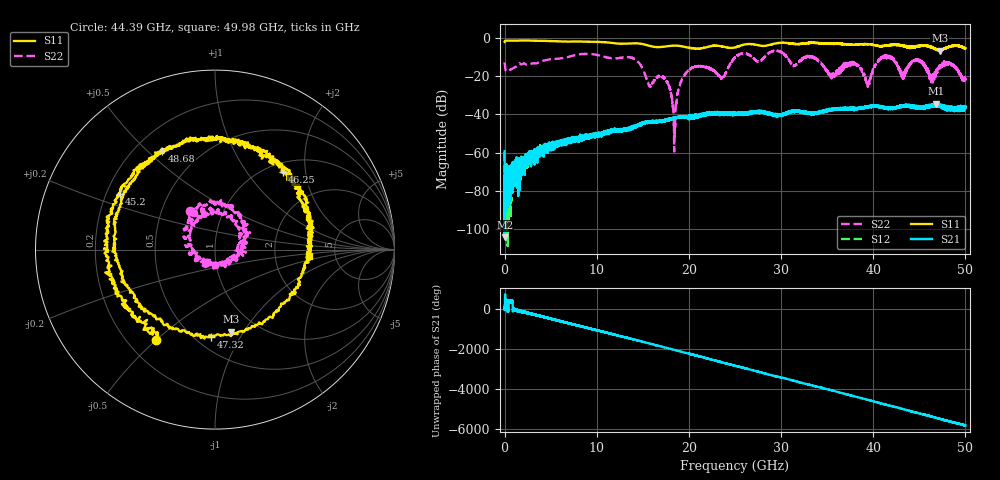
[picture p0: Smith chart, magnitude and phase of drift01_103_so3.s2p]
!Created with skrf (http://scikit-rf.org).
# Hz S RI R 50.0
!freq ReS11 ImS11 ReS21 ImS21 ReS12 ImS12 ReS22 ImS22
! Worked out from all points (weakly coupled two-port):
!   10001 points, 300 kHz to 50 GHz, reference 50 ohm
!   highest |S21| = -34.37 dB at 46.85 GHz (marker M1); lowest = -104.2 dB at 10.3 MHz (marker M2)
!   lowest |S11| = -6.6 dB at 47.21 GHz (marker M3), VSWR 2.74, Z = 37.7 - j44 ohm
!   |S11| at or under -10 dB: nowhere
!   |S22| runs from -59.4 to -6.6 dB; largest |S21 - S12| = 0.0037
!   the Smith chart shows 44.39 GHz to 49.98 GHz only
!   S11 on the Smith chart (normalised r, x): 44.39 GHz: 0.31, -0.50; 45.2 GHz: 0.25, +0.25; 46.25 GHz: 1.16, +1.50; 47.32 GHz: 0.60, -0.76; 48.68 GHz: 0.31, +0.56; 49.98 GHz: 3.19, -0.29
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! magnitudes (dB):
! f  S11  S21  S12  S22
! 300 kHz  -2.1  -59.2  -59.7  -12.8
! 10.3 MHz  -2.1  -104.2  -75.5  -13.5
! 260.3 MHz  -1.4  -72.7  -71.8  -17.5
! 8.335 GHz  -1.9  -51.8  -52.3  -8.5
! 16.67 GHz  -4.8  -43.9  -43.5  -20.0
! 17.74 GHz  -4.4  -42.8  -42.7  -23.9
! 18.44 GHz  -4.1  -41.7  -41.9  -48.4
! 19.91 GHz  -5.1  -41.5  -41.5  -17.2
! 23.6 GHz  -4.5  -40.0  -39.6  -20.6
! 25 GHz  -5.0  -39.8  -39.4  -10.4
! 33.34 GHz  -2.6  -39.4  -39.4  -10.0
! 39.46 GHz  -3.3  -36.1  -36.0  -23.4
! 41.67 GHz  -3.9  -36.6  -36.8  -9.7
! 44.39 GHz  -4.4  -35.4  -35.9  -11.9
! 45.2 GHz  -4.2  -36.4  -36.3  -12.2
! 46.25 GHz  -4.8  -35.6  -35.7  -20.2
! 46.85 GHz  -6.0  -34.4  -35.3  -16.6
! 47.21 GHz  -6.6  -35.4  -35.8  -14.8
! 47.32 GHz  -6.3  -35.7  -35.3  -14.8
! 48.68 GHz  -4.1  -37.1  -37.4  -14.0
! 49.98 GHz  -5.6  -36.2  -35.5  -21.8
! 50 GHz  -5.5  -36.5  -35.8  -21.9
